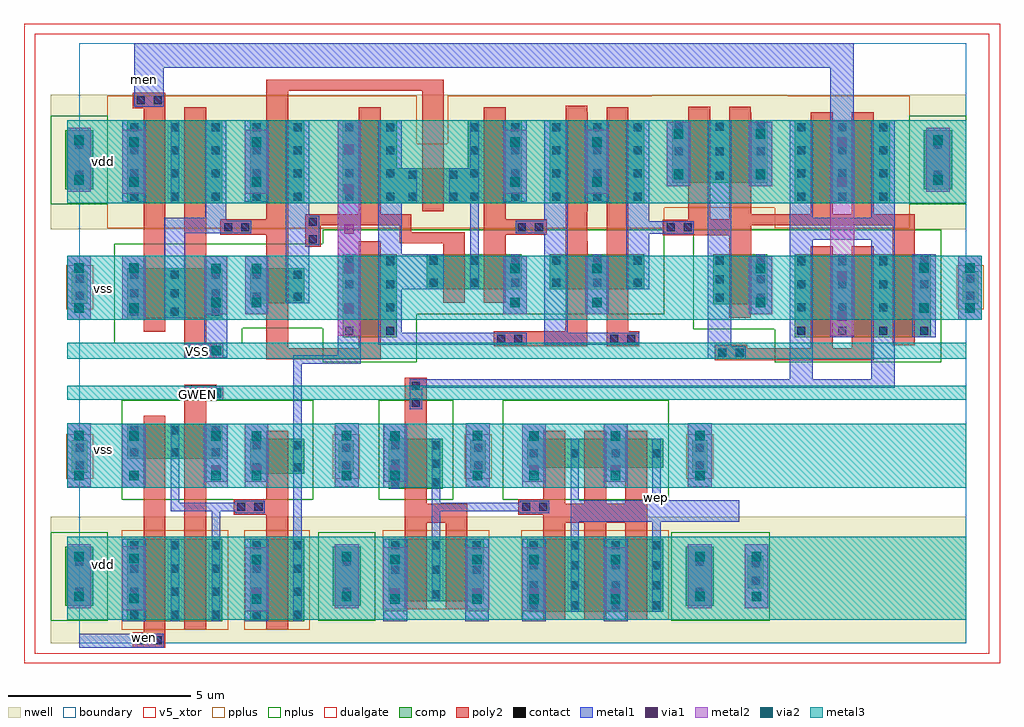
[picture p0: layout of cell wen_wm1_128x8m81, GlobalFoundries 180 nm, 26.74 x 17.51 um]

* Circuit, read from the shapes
.subckt wen_wm1_128x8m81 GWEN VSS men vdd wen wep
XM1 nmos_5p0431059054878_128x8m81_89/D wen VSS VSS nfet_05v0 w=0.96u l=0.6u
XM2 nmos_5p04310590548740_128x8m81_55/D men VSS VSS nfet_05v0 w=1.37u l=0.6u
XM3 VSS GWEN nmos_5p0431059054878_128x8m81_89/D VSS nfet_05v0 w=0.96u l=0.6u
XM4 VSS VSS nmos_5p04310590548740_128x8m81_55/D VSS nfet_05v0 w=1.37u l=0.6u
XM5 nmos_5p0431059054878_128x8m81_97/D nmos_5p0431059054878_128x8m81_89/D VSS VSS nfet_05v0 w=0.96u l=0.6u
XM6 nmos_5p0431059054878_128x8m81_48/D nmos_5p04310590548740_128x8m81_55/D VSS VSS nfet_05v0 w=0.96u l=0.6u
XM7 pmos_5p04310590548741_128x8m81_72/S nmos_5p04310590548740_128x8m81_55/D nmos_5p0431059054878_128x8m81_97/D VSS nfet_05v0 w=2.27u l=0.6u
XM8 nmos_5p04310590548740_128x8m81_80/D nmos_5p04310590548710_128x8m81_39/S VSS VSS nfet_05v0 w=1.37u l=0.6u
XM9 pmos_5p04310590548741_128x8m81_72/D nmos_5p0431059054878_128x8m81_48/D pmos_5p04310590548741_128x8m81_72/S VSS nfet_05v0 w=0.96u l=0.6u
XM10 VSS nmos_1p2$$202595372_128x8m81_18/nmos_5p0431059054878_128x8m81_0/S pmos_5p04310590548741_128x8m81_72/D VSS nfet_05v0 w=0.96u l=0.6u
XM11 wep nmos_5p04310590548740_128x8m81_80/D VSS VSS nfet_05v0 w=0.8u l=0.6u m=3
XM12 VSS pmos_5p04310590548741_128x8m81_72/S nmos_1p2$$202595372_128x8m81_18/nmos_5p0431059054878_128x8m81_0/S VSS nfet_05v0 w=0.96u l=0.6u
XM13 nmos_1p2$$202596396_128x8m81_29/nmos_5p0431059054878_128x8m81_0/D nmos_1p2$$202595372_128x8m81_18/nmos_5p0431059054878_128x8m81_0/S VSS VSS nfet_05v0 w=0.96u l=0.6u
XM14 VSS nmos_1p2$$202596396_128x8m81_29/nmos_5p0431059054878_128x8m81_0/D pmos_1p2$$202583084_128x8m81_40/pmos_5p04310590548735_128x8m81_0/D VSS nfet_05v0 w=1.37u l=0.6u
XM15 men pmos_1p2$$202583084_128x8m81_40/pmos_5p04310590548735_128x8m81_0/D nmos_5p04310590548710_128x8m81_39/S VSS nfet_05v0 w=2.27u l=0.6u m=2
XM16 VSS nmos_1p2$$202596396_128x8m81_29/nmos_5p0431059054878_128x8m81_0/D nmos_5p04310590548710_128x8m81_39/S VSS nfet_05v0 w=2.27u l=0.6u
XM17 pmos_5p04310590548714_128x8m81_106/D wen vdd vdd pfet_05v0 w=2.27u l=0.6u
XM18 pmos_5p04310590548714_128x8m81_74/D men vdd vdd pfet_05v0 w=2.27u l=0.6u
XM19 nmos_5p0431059054878_128x8m81_89/D GWEN pmos_5p04310590548714_128x8m81_106/D vdd pfet_05v0 w=2.27u l=0.6u
XM20 nmos_5p04310590548740_128x8m81_55/D VSS pmos_5p04310590548714_128x8m81_74/D vdd pfet_05v0 w=2.27u l=0.6u
XM21 nmos_5p0431059054878_128x8m81_97/D nmos_5p0431059054878_128x8m81_89/D vdd vdd pfet_05v0 w=2.27u l=0.6u
XM22 nmos_5p0431059054878_128x8m81_48/D nmos_5p04310590548740_128x8m81_55/D vdd vdd pfet_05v0 w=2.27u l=0.6u
XM23 pmos_5p04310590548741_128x8m81_72/S nmos_5p0431059054878_128x8m81_48/D nmos_5p0431059054878_128x8m81_97/D vdd pfet_05v0 w=2.27u l=0.6u
XM24 nmos_5p04310590548740_128x8m81_80/D nmos_5p04310590548710_128x8m81_39/S vdd vdd pfet_05v0 w=1.71u l=0.6u m=2
XM25 pmos_5p04310590548741_128x8m81_72/D nmos_5p04310590548740_128x8m81_55/D pmos_5p04310590548741_128x8m81_72/S vdd pfet_05v0 w=0.96u l=0.6u
XM26 vdd nmos_1p2$$202595372_128x8m81_18/nmos_5p0431059054878_128x8m81_0/S pmos_5p04310590548741_128x8m81_72/D vdd pfet_05v0 w=2.27u l=0.6u
XM27 wep nmos_5p04310590548740_128x8m81_80/D vdd vdd pfet_05v0 w=2u l=0.6u m=3
XM28 vdd pmos_5p04310590548741_128x8m81_72/S nmos_1p2$$202595372_128x8m81_18/nmos_5p0431059054878_128x8m81_0/S vdd pfet_05v0 w=2.27u l=0.6u
XM29 nmos_1p2$$202596396_128x8m81_29/nmos_5p0431059054878_128x8m81_0/D nmos_1p2$$202595372_128x8m81_18/nmos_5p0431059054878_128x8m81_0/S vdd vdd pfet_05v0 w=2.27u l=0.6u
XM30 pmos_1p2$$202583084_128x8m81_40/pmos_5p04310590548735_128x8m81_0/D nmos_1p2$$202596396_128x8m81_29/nmos_5p0431059054878_128x8m81_0/D vdd vdd pfet_05v0 w=1.71u l=0.6u m=2
XM31 men nmos_1p2$$202596396_128x8m81_29/nmos_5p0431059054878_128x8m81_0/D nmos_5p04310590548710_128x8m81_39/S vdd pfet_05v0 w=2.27u l=0.6u m=2
.ends

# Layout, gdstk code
from math import pi, radians
import gdstk
lib = gdstk.Library(unit=1e-6, precision=1e-09)
def R(c, l, rs):  # rectangles x0, y0, x1, y1
    for r in rs: c.add(gdstk.rectangle(r[:2], r[2:], *l))
def A(c, l, x, y, w, h, nx, ny, dx, dy):  # array of equal rectangles
    R(c, l, [(x+i*dx, y+j*dy, x+i*dx+w, y+j*dy+h) for i in range(nx) for j in range(ny)])
def P(c, l, *ps):  # polygons
    for p in ps: c.add(gdstk.Polygon(p, *l))
boundary = (0, 0)
nwell = (21, 0)
comp = (22, 0)
poly2 = (30, 0)
pplus = (31, 0)
nplus = (32, 0)
contact = (33, 0)
metal1 = (34, 0)
via1 = (35, 0)
metal2 = (36, 0)
via2 = (38, 0)
metal3 = (42, 0)
dualgate = (55, 0)
v5_xtor = (112, 1)

m1_poly24310590548739_12 = lib.new_cell('M1_POLY24310590548739_128x8m81')
R(m1_poly24310590548739_12, poly2, [(-0.21,-0.445,0.21,0.445)])
R(m1_poly24310590548739_12, contact, [(-0.11,-0.345,0.11,-0.125), (-0.11,0.125,0.11,0.345)])
R(m1_poly24310590548739_12, metal1, [(-0.17,-0.405,0.17,0.405)])

m3_m2__202397740_128x8m8 = lib.new_cell('M3_M2$$202397740_128x8m81')
R(m3_m2__202397740_128x8m8, metal2, [(-0.32,-0.795,0.32,0.8)])
R(m3_m2__202397740_128x8m8, via2, [(-0.13,-0.595,0.13,-0.335), (-0.13,0.335,0.13,0.595)])
R(m3_m2__202397740_128x8m8, metal3, [(-0.325,-0.8,0.325,0.8)])

pmos_5p04310590548714_12 = lib.new_cell('pmos_5p04310590548714_128x8m81')
R(pmos_5p04310590548714_12, nwell, [(-1.04,-0.6,1.64,2.87)])
R(pmos_5p04310590548714_12, comp, [(-0.44,0,1.04,2.27), (-0.44,0,-0.08,2.27), (0.68,0,1.04,2.27)])
R(pmos_5p04310590548714_12, poly2, [(0,-0.22,0.6,2.49), (0,2.27,0.6,2.49)])
R(pmos_5p04310590548714_12, pplus, [(-0.6,-0.23,1.2,2.5)])
A(pmos_5p04310590548714_12, contact, -0.37, 0.71, 0.22, 0.22, 1, 3, 0, 0.635)
A(pmos_5p04310590548714_12, contact, 0.75, 0.71, 0.22, 0.22, 1, 3, 0, 0.635)
R(pmos_5p04310590548714_12, contact, [(-0.37,0.07,-0.15,0.29), (0.75,0.07,0.97,0.29)])
R(pmos_5p04310590548714_12, metal1, [(-0.375,0,-0.145,2.27), (-0.375,0,-0.145,2.27), (0.745,0,0.975,2.27), (0.745,0,0.975,2.27)])
R(pmos_5p04310590548714_12, dualgate, [(-0.68,-0.62,1.28,2.89)])
R(pmos_5p04310590548714_12, v5_xtor, [(-0.68,-0.62,1.28,2.89)])
pmos_5p04310590548714_12.add(gdstk.Label('S', (-0.26,1.135), layer=34, texttype=0))
pmos_5p04310590548714_12.add(gdstk.Label('D', (0.86,1.135), layer=34, texttype=0))

pmos_1p2__202586156_128x = lib.new_cell('pmos_1p2$$202586156_128x8m81')
R(pmos_1p2__202586156_128x, nwell, [(-1.43,-0.705,1.72,2.975)])
R(pmos_1p2__202586156_128x, poly2, [(-0.155,-0.37,0.44,0), (-0.155,2.27,0.44,2.635)])
R(pmos_1p2__202586156_128x, pplus, [(-1.145,-0.68,1.43,2.95)])
pmos_1p2__202586156_128x.add(gdstk.Reference(pmos_5p04310590548714_12, (-0.155,0)))

m2_m1__202395692_128x8m8 = lib.new_cell('M2_M1$$202395692_128x8m81')
R(m2_m1__202395692_128x8m8, metal1, [(-0.32,-0.795,0.32,0.8)])
R(m2_m1__202395692_128x8m8, via1, [(-0.13,-0.595,0.13,-0.335), (-0.13,0.335,0.13,0.595)])
R(m2_m1__202395692_128x8m8, metal2, [(-0.32,-0.795,0.32,0.8)])

m3_m2__201252908_128x8m8 = lib.new_cell('M3_M2$$201252908_128x8m81')
R(m3_m2__201252908_128x8m8, metal2, [(-0.325,-0.875,0.325,0.88)])
R(m3_m2__201252908_128x8m8, via2, [(-0.13,-0.675,0.13,-0.415), (-0.13,0.415,0.13,0.675)])
R(m3_m2__201252908_128x8m8, metal3, [(-0.325,-0.875,0.325,0.88)])

nmos_5p0431059054878_128 = lib.new_cell('nmos_5p0431059054878_128x8m81')
R(nmos_5p0431059054878_128, comp, [(-0.44,0,1.04,0.96), (-0.44,0,-0.08,0.96), (0.68,0,1.04,0.96)])
R(nmos_5p0431059054878_128, poly2, [(0,-0.22,0.6,1.18), (0,0.96,0.6,1.18)])
R(nmos_5p0431059054878_128, nplus, [(-0.6,-0.23,1.2,1.19)])
R(nmos_5p0431059054878_128, contact, [(-0.37,0.07,-0.15,0.29), (0.75,0.07,0.97,0.29), (-0.37,0.67,-0.15,0.89), (0.75,0.67,0.97,0.89)])
R(nmos_5p0431059054878_128, metal1, [(-0.375,0,-0.145,0.96), (-0.375,0,-0.145,0.96), (0.745,0,0.975,0.96), (0.745,0,0.975,0.96)])
R(nmos_5p0431059054878_128, dualgate, [(-0.68,-0.62,1.28,1.58)])
R(nmos_5p0431059054878_128, v5_xtor, [(-0.68,-0.62,1.28,1.58)])
nmos_5p0431059054878_128.add(gdstk.Label('S', (-0.26,0.48), layer=34, texttype=0))
nmos_5p0431059054878_128.add(gdstk.Label('D', (0.86,0.48), layer=34, texttype=0))

nmos_1p2__202596396_128x = lib.new_cell('nmos_1p2$$202596396_128x8m81')
R(nmos_1p2__202596396_128x, poly2, [(-0.155,-0.365,0.44,-0.005), (-0.155,0.955,0.44,1.32)])
R(nmos_1p2__202596396_128x, nplus, [(-0.995,-0.685,1.43,1.635)])
nmos_1p2__202596396_128x.add(gdstk.Reference(nmos_5p0431059054878_128, (-0.155,0)))

m2_m1__202406956_128x8m8 = lib.new_cell('M2_M1$$202406956_128x8m81')
R(m2_m1__202406956_128x8m8, metal1, [(-0.325,-0.875,0.325,0.88)])
R(m2_m1__202406956_128x8m8, via1, [(-0.13,-0.675,0.13,-0.415), (-0.13,0.415,0.13,0.675)])
R(m2_m1__202406956_128x8m8, metal2, [(-0.325,-0.875,0.325,0.88)])

pmos_5p04310590548743_12 = lib.new_cell('pmos_5p04310590548743_128x8m81')
R(pmos_5p04310590548743_12, nwell, [(-1.04,-0.6,3.88,2.6)])
A(pmos_5p04310590548743_12, comp, -0.44, 0, 0.36, 2, 4, 1, 1.12, 0)
R(pmos_5p04310590548743_12, comp, [(-0.44,0,3.28,2)])
A(pmos_5p04310590548743_12, poly2, 0, -0.22, 0.6, 2.44, 3, 1, 1.12, 0)
A(pmos_5p04310590548743_12, poly2, 0, 2, 0.6, 0.22, 3, 1, 1.12, 0)
R(pmos_5p04310590548743_12, pplus, [(-0.6,-0.23,3.44,2.23)])
A(pmos_5p04310590548743_12, contact, -0.37, 0.07, 0.22, 0.22, 4, 2, 1.12, 0.55)
A(pmos_5p04310590548743_12, contact, -0.37, 1.165, 0.22, 0.22, 4, 2, 1.12, 0.545)
R(pmos_5p04310590548743_12, metal1, [(-0.375,0,-0.145,2), (-0.375,0,-0.145,2), (0.745,0,0.975,2), (0.745,0,0.975,2), (1.865,0,2.095,2), (1.865,0,2.095,2), (2.985,0,3.215,2), (2.985,0,3.215,2)])
R(pmos_5p04310590548743_12, dualgate, [(-0.68,-0.62,3.52,2.62)])
R(pmos_5p04310590548743_12, v5_xtor, [(-0.68,-0.62,3.52,2.62)])
pmos_5p04310590548743_12.add(gdstk.Label('S', (-0.26,1), layer=34, texttype=0))
pmos_5p04310590548743_12.add(gdstk.Label('D', (3.1,1), layer=34, texttype=0))
pmos_5p04310590548743_12.add(gdstk.Label('D', (0.86,1), layer=34, texttype=0))
pmos_5p04310590548743_12.add(gdstk.Label('S', (1.98,1), layer=34, texttype=0))

pmos_5p04310590548720_12 = lib.new_cell('pmos_5p04310590548720_128x8m81')
R(pmos_5p04310590548720_12, nwell, [(-1.04,-0.6,2.76,2.87)])
A(pmos_5p04310590548720_12, comp, -0.44, 0, 0.36, 2.27, 3, 1, 1.12, 0)
R(pmos_5p04310590548720_12, comp, [(-0.44,0,2.16,2.27)])
R(pmos_5p04310590548720_12, poly2, [(0,-0.22,0.6,2.49), (1.12,-0.22,1.72,2.49), (0,2.27,0.6,2.49), (1.12,2.27,1.72,2.49)])
R(pmos_5p04310590548720_12, pplus, [(-0.6,-0.23,2.32,2.5)])
A(pmos_5p04310590548720_12, contact, -0.37, 0.07, 0.22, 0.22, 3, 2, 1.12, 0.64)
A(pmos_5p04310590548720_12, contact, -0.37, 1.345, 0.22, 0.22, 3, 2, 1.12, 0.635)
R(pmos_5p04310590548720_12, metal1, [(-0.375,0,-0.145,2.27), (-0.375,0,-0.145,2.27), (0.745,0,0.975,2.27), (0.745,0,0.975,2.27), (1.865,0,2.095,2.27), (1.865,0,2.095,2.27)])
R(pmos_5p04310590548720_12, dualgate, [(-0.68,-0.62,2.4,2.89)])
R(pmos_5p04310590548720_12, v5_xtor, [(-0.68,-0.62,2.4,2.89)])
pmos_5p04310590548720_12.add(gdstk.Label('S', (-0.26,1.135), layer=34, texttype=0))
pmos_5p04310590548720_12.add(gdstk.Label('S', (1.98,1.135), layer=34, texttype=0))
pmos_5p04310590548720_12.add(gdstk.Label('D', (0.86,1.135), layer=34, texttype=0))

nmos_5p04310590548739_12 = lib.new_cell('nmos_5p04310590548739_128x8m81')
A(nmos_5p04310590548739_12, comp, -0.44, 0, 0.36, 2.27, 3, 1, 1.12, 0)
R(nmos_5p04310590548739_12, comp, [(-0.44,0,2.16,2.27)])
R(nmos_5p04310590548739_12, poly2, [(0,-0.22,0.6,2.49), (1.12,-0.22,1.72,2.49), (0,2.27,0.6,2.49), (1.12,2.27,1.72,2.49)])
R(nmos_5p04310590548739_12, nplus, [(-0.6,-0.23,2.32,2.5)])
A(nmos_5p04310590548739_12, contact, -0.37, 0.07, 0.22, 0.22, 3, 2, 1.12, 0.64)
A(nmos_5p04310590548739_12, contact, -0.37, 1.345, 0.22, 0.22, 3, 2, 1.12, 0.635)
R(nmos_5p04310590548739_12, metal1, [(-0.375,0,-0.145,2.27), (-0.375,0,-0.145,2.27), (0.745,0,0.975,2.27), (0.745,0,0.975,2.27), (1.865,0,2.095,2.27), (1.865,0,2.095,2.27)])
R(nmos_5p04310590548739_12, dualgate, [(-0.68,-0.62,2.4,2.89)])
R(nmos_5p04310590548739_12, v5_xtor, [(-0.68,-0.62,2.4,2.89)])
nmos_5p04310590548739_12.add(gdstk.Label('S', (-0.26,1.135), layer=34, texttype=0))
nmos_5p04310590548739_12.add(gdstk.Label('S', (1.98,1.135), layer=34, texttype=0))
nmos_5p04310590548739_12.add(gdstk.Label('D', (0.86,1.135), layer=34, texttype=0))

nmos_5p04310590548740_12 = lib.new_cell('nmos_5p04310590548740_128x8m81')
R(nmos_5p04310590548740_12, comp, [(-0.44,0,1.04,1.37), (-0.44,0,-0.08,1.37), (0.68,0,1.04,1.37)])
R(nmos_5p04310590548740_12, poly2, [(0,-0.22,0.6,1.59), (0,1.37,0.6,1.59)])
R(nmos_5p04310590548740_12, nplus, [(-0.6,-0.23,1.2,1.6)])
A(nmos_5p04310590548740_12, contact, -0.37, 0.07, 0.22, 0.22, 1, 3, 0, 0.505)
A(nmos_5p04310590548740_12, contact, 0.75, 0.07, 0.22, 0.22, 1, 3, 0, 0.505)
R(nmos_5p04310590548740_12, metal1, [(-0.375,0,-0.145,1.37), (-0.375,0,-0.145,1.37), (0.745,0,0.975,1.37), (0.745,0,0.975,1.37)])
R(nmos_5p04310590548740_12, dualgate, [(-0.68,-0.62,1.28,1.99)])
R(nmos_5p04310590548740_12, v5_xtor, [(-0.68,-0.62,1.28,1.99)])
nmos_5p04310590548740_12.add(gdstk.Label('S', (-0.26,0.685), layer=34, texttype=0))
nmos_5p04310590548740_12.add(gdstk.Label('D', (0.86,0.685), layer=34, texttype=0))

nmos_1p2__202594348_128x = lib.new_cell('nmos_1p2$$202594348_128x8m81')
R(nmos_1p2__202594348_128x, poly2, [(-0.155,-0.365,0.44,0), (-0.155,1.365,0.44,1.73)])
R(nmos_1p2__202594348_128x, nplus, [(-1.145,-0.685,1.43,2.045)])
nmos_1p2__202594348_128x.add(gdstk.Reference(nmos_5p04310590548740_12, (-0.155,0)))

m1_nactive__202392620_12 = lib.new_cell('M1_NACTIVE$$202392620_128x8m81')
R(m1_nactive__202392620_12, comp, [(-0.385,-0.805,0.385,0.81)])
R(m1_nactive__202392620_12, nplus, [(-0.78,-1.215,0.78,1.215)])
R(m1_nactive__202392620_12, contact, [(-0.11,-0.52,0.11,-0.3), (-0.11,0.3,0.11,0.52)])
R(m1_nactive__202392620_12, metal1, [(-0.29,-0.71,0.29,0.71)])

nmos_1p2__202595372_128x = lib.new_cell('nmos_1p2$$202595372_128x8m81')
R(nmos_1p2__202595372_128x, poly2, [(-0.155,-0.365,0.445,-0.005), (-0.155,0.955,0.445,1.32)])
R(nmos_1p2__202595372_128x, nplus, [(-1.145,-0.685,0.925,1.635)])
nmos_1p2__202595372_128x.add(gdstk.Reference(nmos_5p0431059054878_128, (-0.155,0)))

m1_pactive4310590548728_ = lib.new_cell('M1_PACTIVE4310590548728_128x8m81')
R(m1_pactive4310590548728_, comp, [(-0.21,-0.445,0.21,0.445)])
R(m1_pactive4310590548728_, pplus, [(-0.37,-0.605,0.37,0.605)])
R(m1_pactive4310590548728_, contact, [(-0.11,-0.345,0.11,-0.125), (-0.11,0.125,0.11,0.345)])
R(m1_pactive4310590548728_, metal1, [(-0.17,-0.405,0.17,0.405)])

pmos_1p2__202585132_128x = lib.new_cell('pmos_1p2$$202585132_128x8m81')
R(pmos_1p2__202585132_128x, nwell, [(-1.28,-0.705,1.72,2.975)])
R(pmos_1p2__202585132_128x, poly2, [(-0.155,-0.37,0.44,0), (-0.155,2.27,0.44,2.635)])
R(pmos_1p2__202585132_128x, pplus, [(-0.995,-0.68,1.43,2.95)])
pmos_1p2__202585132_128x.add(gdstk.Reference(pmos_5p04310590548714_12, (-0.155,0)))

pmos_1p2__202584108_128x = lib.new_cell('pmos_1p2$$202584108_128x8m81')
R(pmos_1p2__202584108_128x, nwell, [(-1.43,-0.705,1.215,2.975)])
R(pmos_1p2__202584108_128x, poly2, [(-0.155,-0.37,0.44,0), (-0.155,2.27,0.44,2.635)])
R(pmos_1p2__202584108_128x, pplus, [(-1.145,-0.68,0.925,2.95)])
pmos_1p2__202584108_128x.add(gdstk.Reference(pmos_5p04310590548714_12, (-0.155,0)))

nmos_5p04310590548710_12 = lib.new_cell('nmos_5p04310590548710_128x8m81')
R(nmos_5p04310590548710_12, comp, [(-0.44,0,1.04,2.27), (-0.44,0,-0.08,2.27), (0.68,0,1.04,2.27)])
R(nmos_5p04310590548710_12, poly2, [(0,-0.22,0.6,2.49), (0,2.27,0.6,2.49)])
R(nmos_5p04310590548710_12, nplus, [(-0.6,-0.23,1.2,2.5)])
A(nmos_5p04310590548710_12, contact, -0.37, 0.71, 0.22, 0.22, 1, 3, 0, 0.635)
A(nmos_5p04310590548710_12, contact, 0.75, 0.71, 0.22, 0.22, 1, 3, 0, 0.635)
R(nmos_5p04310590548710_12, contact, [(-0.37,0.07,-0.15,0.29), (0.75,0.07,0.97,0.29)])
R(nmos_5p04310590548710_12, metal1, [(-0.375,0,-0.145,2.27), (-0.375,0,-0.145,2.27), (0.745,0,0.975,2.27), (0.745,0,0.975,2.27)])
R(nmos_5p04310590548710_12, dualgate, [(-0.68,-0.62,1.28,2.89)])
R(nmos_5p04310590548710_12, v5_xtor, [(-0.68,-0.62,1.28,2.89)])
nmos_5p04310590548710_12.add(gdstk.Label('S', (-0.26,1.135), layer=34, texttype=0))
nmos_5p04310590548710_12.add(gdstk.Label('D', (0.86,1.135), layer=34, texttype=0))

pmos_5p04310590548735_12 = lib.new_cell('pmos_5p04310590548735_128x8m81')
R(pmos_5p04310590548735_12, nwell, [(-1.04,-0.6,2.76,2.31)])
A(pmos_5p04310590548735_12, comp, -0.44, 0, 0.36, 1.71, 3, 1, 1.12, 0)
R(pmos_5p04310590548735_12, comp, [(-0.44,0,2.16,1.71)])
R(pmos_5p04310590548735_12, poly2, [(0,-0.22,0.6,1.93), (1.12,-0.22,1.72,1.93), (0,1.71,0.6,1.93), (1.12,1.71,1.72,1.93)])
R(pmos_5p04310590548735_12, pplus, [(-0.6,-0.23,2.32,1.94)])
A(pmos_5p04310590548735_12, contact, -0.37, 0.07, 0.22, 0.22, 3, 3, 1.12, 0.675)
R(pmos_5p04310590548735_12, metal1, [(-0.375,0,-0.145,1.71), (-0.375,0,-0.145,1.71), (0.745,0,0.975,1.71), (0.745,0,0.975,1.71), (1.865,0,2.095,1.71), (1.865,0,2.095,1.71)])
R(pmos_5p04310590548735_12, dualgate, [(-0.68,-0.62,2.4,2.33)])
R(pmos_5p04310590548735_12, v5_xtor, [(-0.68,-0.62,2.4,2.33)])
pmos_5p04310590548735_12.add(gdstk.Label('S', (-0.26,0.855), layer=34, texttype=0))
pmos_5p04310590548735_12.add(gdstk.Label('S', (1.98,0.855), layer=34, texttype=0))
pmos_5p04310590548735_12.add(gdstk.Label('D', (0.86,0.855), layer=34, texttype=0))

pmos_1p2__202583084_128x = lib.new_cell('pmos_1p2$$202583084_128x8m81')
R(pmos_1p2__202583084_128x, nwell, [(-1.43,-0.71,2.84,2.41)])
R(pmos_1p2__202583084_128x, poly2, [(-0.155,-0.37,0.44,-0.005), (0.965,-0.37,1.56,-0.005), (-0.155,1.705,0.44,2.07), (0.965,1.705,1.56,2.07)])
R(pmos_1p2__202583084_128x, pplus, [(-1.145,-0.685,2.55,2.385)])
pmos_1p2__202583084_128x.add(gdstk.Reference(pmos_5p04310590548735_12, (-0.155,0)))

m2_m14310590548736_128x8 = lib.new_cell('M2_M14310590548736_128x8m81')
R(m2_m14310590548736_128x8, metal1, [(-0.52,-0.19,0.52,0.19)])
R(m2_m14310590548736_128x8, via1, [(-0.46,-0.13,-0.2,0.13), (0.2,-0.13,0.46,0.13)])
R(m2_m14310590548736_128x8, metal2, [(-0.52,-0.19,0.52,0.19)])

m3_m24310590548737_128x8 = lib.new_cell('M3_M24310590548737_128x8m81')
R(m3_m24310590548737_128x8, metal2, [(-0.52,-0.19,0.52,0.19)])
R(m3_m24310590548737_128x8, via2, [(-0.46,-0.13,-0.2,0.13), (0.2,-0.13,0.46,0.13)])
R(m3_m24310590548737_128x8, metal3, [(-0.52,-0.19,0.52,0.19)])

pmos_1p2__202587180_128x = lib.new_cell('pmos_1p2$$202587180_128x8m81')
R(pmos_1p2__202587180_128x, nwell, [(-1.43,-0.705,1.72,2.975)])
R(pmos_1p2__202587180_128x, poly2, [(-0.155,-0.37,0.445,0), (-0.155,2.27,0.445,2.635)])
R(pmos_1p2__202587180_128x, pplus, [(-1.145,-0.68,1.43,2.95)])
pmos_1p2__202587180_128x.add(gdstk.Reference(pmos_5p04310590548714_12, (-0.155,0)))

m2_m1__202396716_128x8m8 = lib.new_cell('M2_M1$$202396716_128x8m81')
R(m2_m1__202396716_128x8m8, metal1, [(-0.32,-2.51,0.32,2.51)])
A(m2_m1__202396716_128x8m8, via1, -0.13, -1.22, 0.26, 0.26, 1, 3, 0, 1.09)
R(m2_m1__202396716_128x8m8, via1, [(-0.13,-2.305,0.13,-2.045), (-0.13,2.045,0.13,2.305)])
R(m2_m1__202396716_128x8m8, metal2, [(-0.32,-2.51,0.32,2.51)])

m1_poly24310590548734_12 = lib.new_cell('M1_POLY24310590548734_128x8m81')
R(m1_poly24310590548734_12, poly2, [(-0.445,-0.21,0.445,0.21)])
R(m1_poly24310590548734_12, contact, [(-0.345,-0.11,-0.125,0.11), (0.125,-0.11,0.345,0.11)])
R(m1_poly24310590548734_12, metal1, [(-0.405,-0.17,0.405,0.17)])

pmos_5p04310590548741_12 = lib.new_cell('pmos_5p04310590548741_128x8m81')
R(pmos_5p04310590548741_12, nwell, [(-1.04,-0.6,1.64,1.56)])
R(pmos_5p04310590548741_12, comp, [(-0.44,0,1.04,0.96), (-0.44,0,-0.08,0.96), (0.68,0,1.04,0.96)])
R(pmos_5p04310590548741_12, poly2, [(0,-0.22,0.6,1.18), (0,0.96,0.6,1.18)])
R(pmos_5p04310590548741_12, pplus, [(-0.6,-0.23,1.2,1.19)])
R(pmos_5p04310590548741_12, contact, [(-0.37,0.07,-0.15,0.29), (0.75,0.07,0.97,0.29), (-0.37,0.67,-0.15,0.89), (0.75,0.67,0.97,0.89)])
R(pmos_5p04310590548741_12, metal1, [(-0.375,0,-0.145,0.96), (-0.375,0,-0.145,0.96), (0.745,0,0.975,0.96), (0.745,0,0.975,0.96)])
R(pmos_5p04310590548741_12, dualgate, [(-0.68,-0.62,1.28,1.58)])
R(pmos_5p04310590548741_12, v5_xtor, [(-0.68,-0.62,1.28,1.58)])
pmos_5p04310590548741_12.add(gdstk.Label('S', (-0.26,0.48), layer=34, texttype=0))
pmos_5p04310590548741_12.add(gdstk.Label('D', (0.86,0.48), layer=34, texttype=0))

nmos_1p2__202598444_128x = lib.new_cell('nmos_1p2$$202598444_128x8m81')
R(nmos_1p2__202598444_128x, poly2, [(-0.155,-0.37,0.445,-0.005), (-0.155,2.27,0.445,2.635)])
R(nmos_1p2__202598444_128x, nplus, [(-1.145,-0.685,1.43,2.95)])
nmos_1p2__202598444_128x.add(gdstk.Reference(nmos_5p04310590548710_12, (-0.155,0)))

nmos_5p04310590548742_12 = lib.new_cell('nmos_5p04310590548742_128x8m81')
A(nmos_5p04310590548742_12, comp, -0.44, 0, 0.36, 0.8, 4, 1, 1.12, 0)
R(nmos_5p04310590548742_12, comp, [(-0.44,0,3.28,0.8)])
A(nmos_5p04310590548742_12, poly2, 0, -0.22, 0.6, 1.24, 3, 1, 1.12, 0)
A(nmos_5p04310590548742_12, poly2, 0, 0.8, 0.6, 0.22, 3, 1, 1.12, 0)
R(nmos_5p04310590548742_12, nplus, [(-0.6,-0.23,3.44,1.03)])
A(nmos_5p04310590548742_12, contact, -0.37, 0.29, 0.22, 0.22, 4, 1, 1.12, 0)
R(nmos_5p04310590548742_12, metal1, [(-0.375,0,-0.145,0.8), (-0.375,0,-0.145,0.8), (0.745,0,0.975,0.8), (0.745,0,0.975,0.8), (1.865,0,2.095,0.8), (1.865,0,2.095,0.8), (2.985,0,3.215,0.8), (2.985,0,3.215,0.8)])
R(nmos_5p04310590548742_12, dualgate, [(-0.68,-0.62,3.52,1.42)])
R(nmos_5p04310590548742_12, v5_xtor, [(-0.68,-0.62,3.52,1.42)])
nmos_5p04310590548742_12.add(gdstk.Label('S', (-0.26,0.4), layer=34, texttype=0))
nmos_5p04310590548742_12.add(gdstk.Label('D', (3.1,0.4), layer=34, texttype=0))
nmos_5p04310590548742_12.add(gdstk.Label('D', (0.86,0.4), layer=34, texttype=0))
nmos_5p04310590548742_12.add(gdstk.Label('S', (1.98,0.4), layer=34, texttype=0))

m1_nactive4310590548738_ = lib.new_cell('M1_NACTIVE4310590548738_128x8m81')
R(m1_nactive4310590548738_, comp, [(-0.21,-0.445,0.21,0.445)])
R(m1_nactive4310590548738_, nplus, [(-0.37,-0.605,0.37,0.605)])
R(m1_nactive4310590548738_, contact, [(-0.11,-0.345,0.11,-0.125), (-0.11,0.125,0.11,0.345)])
R(m1_nactive4310590548738_, metal1, [(-0.17,-0.405,0.17,0.405)])

wen_wm1_128x8m81 = lib.new_cell('wen_wm1_128x8m81')
R(wen_wm1_128x8m81, boundary, [(0,0,24.31,16.435)])
R(wen_wm1_128x8m81, nwell, [(-0.78,0,24.31,3.47), (-0.78,11.35,24.31,15.03), (0.49,11.35,4.76,15.03), (3.85,11.35,7,15.03), (8.625,11.35,11.18,13.715), (18.775,11.35,23.045,15.03)])
R(wen_wm1_128x8m81, comp, [(8.43,12.055,9.195,13.015), (10.415,12.055,10.7,13.015)])
R(wen_wm1_128x8m81, poly2, [(1.765,-0.12,2.365,0.6), (5.125,2.945,5.725,4.52), (14.96,2.945,15.56,4.8), (1.765,2.95,2.365,5.07), (2.885,2.95,3.485,6.24), (8.92,5.805,9.52,7.27), (2.885,6.185,3.485,6.71), (2.885,7.815,3.485,11.975), (14.45,8.135,15.05,11.92), (1.765,8.54,2.365,8.905), (2.885,8.54,3.485,8.905), (5.125,8.945,5.72,9.31), (1.765,10.27,2.36,10.635), (2.885,10.27,3.48,10.635), (5.125,10.27,5.72,10.635), (1.765,10.395,2.365,11.975), (1.765,11.685,2.365,12.055), (2.885,11.685,3.485,12.055), (20.05,11.685,20.65,12.055), (21.17,11.685,21.77,12.055), (1.765,14.325,2.365,14.69), (2.885,14.325,3.485,14.69)])
P(wen_wm1_128x8m81, poly2, [(11.355,8.135),(11.355,8.555),(13.325,8.555),(13.325,8.665),(13.33,8.665),(13.33,14.735),(13.925,14.735),(13.925,8.135)],
  [(17.81,10.645),(17.81,11.185),(16.69,11.185),(16.69,12.555),(17.29,12.555),(17.29,11.615),(17.81,11.615),(17.81,12.555),(18.41,12.555),(18.41,11.755),(22.89,11.755),(22.89,10.645),(22.29,10.645),(22.29,11.45),(18.41,11.45),(18.41,10.645)],
  [(8.78,10.96),(8.78,11.45),(6.195,11.45),(6.195,11.755),(9.095,11.755),(9.095,11.265),(10.57,11.265),(10.57,10.96)],
  [(11.09,10.755),(11.09,11.935),(11.69,11.935),(11.69,11.615),(12.695,11.615),(12.695,11.195),(11.69,11.195),(11.69,10.755)],
  [(5.125,10.36),(5.125,11.195),(4.17,11.195),(4.17,11.615),(5.125,11.615),(5.125,11.935),(5.725,11.935),(5.725,10.36)],
  [(17.475,7.755),(17.475,8.085),(20.05,8.085),(20.05,8.3),(20.65,8.3),(20.65,8.085),(21.17,8.085),(21.17,8.27),(21.77,8.27),(21.77,7.755)],
  [(5.125,7.78),(5.125,9.28),(5.725,9.28),(5.725,8.085),(8.26,8.085),(8.26,7.78)],
  [(9.395,13.02),(9.395,15.135),(5.725,15.135),(5.725,14.46),(5.125,14.46),(5.125,15.44),(9.995,15.44),(9.995,13.02)],
  [(8.92,2.945),(8.92,4.52),(9.52,4.52),(9.52,3.825),(10.64,3.825),(10.64,2.965),(10.04,2.965),(10.04,3.3),(9.52,3.3),(9.52,2.945)],
  [(12.72,2.945),(12.72,4.8),(13.32,4.8),(13.32,3.825),(14.44,3.825),(14.44,2.965),(13.84,2.965),(13.84,3.3),(13.32,3.3),(13.32,2.945)],
  [(13.84,2.945),(13.84,4.8),(14.44,4.8),(14.44,3.825),(15.56,3.825),(15.56,2.965),(14.96,2.965),(14.96,3.3),(14.44,3.3),(14.44,2.945)])
R(wen_wm1_128x8m81, pplus, [(0.775,11.375,4.47,15.005), (4.135,11.375,6.71,15.005), (8.91,11.375,10.895,13.69), (19.06,11.375,22.755,15.005)])
R(wen_wm1_128x8m81, nplus, [(17.63,0.615,18.925,3.045), (1.165,3.93,6.415,6.66), (8.215,3.93,10.25,6.66), (11.605,3.93,16.16,6.66), (19.06,7.7,22.605,11.335), (21.805,7.7,23.625,11.335), (0.96,8.22,4.47,10.95), (4.135,8.63,6.71,10.95)])
R(wen_wm1_128x8m81, metal1, [(0,-0.12,2.325,0.26), (1.18,0.6,1.83,2.87), (4.535,0.6,5.185,2.87), (8.335,0.6,8.985,2.87), (10.575,0.6,11.225,2.87), (12.135,0.6,12.785,2.87), (14.375,0.6,15.025,2.87), (7.08,7.665,7.72,14.325), (17.225,7.795,17.865,14.335), (3.425,7.83,4.065,9.09), (20.58,8.385,21.23,10.61), (22.82,8.385,23.47,10.655), (5.66,9.315,6.305,14.325), (1.18,12.1,1.83,14.325), (4.54,12.1,5.185,14.325), (11.62,12.1,12.27,14.325), (13.86,12.1,14.51,14.325)])
P(wen_wm1_128x8m81, metal1, [(19.465,7),(19.465,14.325),(20.105,14.325),(20.105,11.655),(21.705,11.655),(21.705,14.325),(22.345,14.325),(22.345,7),(21.705,7),(21.705,11.055),(20.105,11.055),(20.105,7)],
  [(14.985,9.7),(14.985,14.325),(15.625,14.325),(15.625,11.565),(16.8,11.565),(16.8,11.225),(15.625,11.225),(15.625,9.7)],
  [(12.745,8.175),(12.745,14.325),(13.385,14.325),(13.385,8.515),(15.34,8.515),(15.34,8.175)],
  [(10.715,9.7),(10.715,12.055),(10.14,12.055),(10.14,13.015),(10.715,13.015),(10.715,14.325),(10.945,14.325),(10.945,9.7)],
  [(8.2,8.175),(8.2,14.325),(8.84,14.325),(8.84,13.015),(9.245,13.015),(9.245,12.055),(8.84,12.055),(8.84,10.66),(9.995,10.66),(9.995,9.7),(8.84,9.7),(8.84,8.515),(12.265,8.515),(12.265,8.175)],
  [(2.335,8.905),(2.335,11.655),(3.455,11.655),(3.455,14.325),(4.03,14.325),(4.03,11.235),(2.91,11.235),(2.91,8.905)],
  [(20.585,12.1),(20.585,15.77),(2.325,15.77),(2.325,14.705),(1.515,14.705),(1.515,16.435),(21.225,16.435),(21.225,12.1)])
R(wen_wm1_128x8m81, metal2, [(7.08,8.425,7.72,14.325), (20.58,8.425,21.23,14.315)])
R(wen_wm1_128x8m81, metal3, [(-0.325,0.64,24.31,2.915), (-0.325,4.265,24.31,6.02), (-0.325,6.675,24.31,7.055), (-0.325,7.8,24.31,8.24), (-0.325,8.86,24.31,10.615), (-0.325,12.055,24.31,14.33)])
R(wen_wm1_128x8m81, dualgate, [(-1.51,-0.54,25.23,16.97)])
R(wen_wm1_128x8m81, v5_xtor, [(-1.21,-0.29,24.93,16.695)])
wen_wm1_128x8m81.add(gdstk.FlexPath([(2.625,5.485),(2.625,3.74),(4.445,3.74)], 0.23, ends="flush", simple_path=True, layer=34, datatype=0))  # metal1
wen_wm1_128x8m81.add(gdstk.FlexPath([(9.225,6.43),(9.225,7.115),(22.345,7.115)], 0.23, ends="flush", simple_path=True, layer=34, datatype=0))  # metal1
wen_wm1_128x8m81.add(gdstk.FlexPath([(18.085,3.625),(13.58,3.625)], 0.6, ends="flush", simple_path=True, layer=34, datatype=0))  # metal1
wen_wm1_128x8m81.add(gdstk.FlexPath([(3.745,2.69),(3.745,3.74)], 0.23, ends="flush", simple_path=True, layer=34, datatype=0))  # metal1
wen_wm1_128x8m81.add(gdstk.FlexPath([(5.87,7.78),(7.58,7.78)], 0.23, ends="flush", simple_path=True, layer=34, datatype=0))  # metal1
wen_wm1_128x8m81.add(gdstk.FlexPath([(5.985,7.83),(5.985,2.315)], 0.23, ends="flush", simple_path=True, layer=34, datatype=0))  # metal1
wen_wm1_128x8m81.add(gdstk.FlexPath([(9.78,2.69),(9.78,4.995)], 0.23, ends="flush", simple_path=True, layer=34, datatype=0))  # metal1
wen_wm1_128x8m81.add(gdstk.FlexPath([(13.58,2.69),(13.58,4.995)], 0.23, ends="flush", simple_path=True, layer=34, datatype=0))  # metal1
wen_wm1_128x8m81.add(gdstk.FlexPath([(12.715,3.74),(9.78,3.74)], 0.23, ends="flush", simple_path=True, layer=34, datatype=0))  # metal1
wen_wm1_128x8m81.add(gdstk.FlexPath([(15.82,2.69),(15.82,4.995)], 0.23, ends="flush", simple_path=True, layer=34, datatype=0))  # metal1
wen_wm1_128x8m81.add(gdstk.Reference(m1_poly24310590548739_12, (11.8,8.345), rotation=pi/2))
wen_wm1_128x8m81.add(gdstk.Reference(m1_poly24310590548739_12, (12.365,11.405), rotation=pi/2))
wen_wm1_128x8m81.add(gdstk.Reference(m3_m2__202397740_128x8m8, (11.945,9.81)))
wen_wm1_128x8m81.add(gdstk.Reference(pmos_1p2__202586156_128x, (11.245,12.055)))
wen_wm1_128x8m81.add(gdstk.Reference(m2_m1__202395692_128x8m8, (11.945,9.81)))
wen_wm1_128x8m81.add(gdstk.Reference(m3_m2__201252908_128x8m8, (11.945,13.19)))
wen_wm1_128x8m81.add(gdstk.Reference(nmos_1p2__202596396_128x, (11.245,9.7)))
wen_wm1_128x8m81.add(gdstk.Reference(m2_m1__202406956_128x8m8, (11.945,13.19)))
wen_wm1_128x8m81.add(gdstk.Reference(pmos_5p04310590548743_12, (12.72,2.87), x_reflection=True))
wen_wm1_128x8m81.add(gdstk.Reference(m3_m2__202397740_128x8m8, (14.185,9.81)))
wen_wm1_128x8m81.add(gdstk.Reference(pmos_5p04310590548720_12, (20.05,12.055)))
wen_wm1_128x8m81.add(gdstk.Reference(nmos_5p04310590548739_12, (20.05,8.385)))
wen_wm1_128x8m81.add(gdstk.Reference(m1_poly24310590548739_12, (17.86,7.965), rotation=pi/2))
wen_wm1_128x8m81.add(gdstk.Reference(nmos_1p2__202594348_128x, (17.965,9.29)))
wen_wm1_128x8m81.add(gdstk.Reference(m1_nactive__202392620_12, (23.53,13.245)))
wen_wm1_128x8m81.add(gdstk.Reference(m2_m1__202395692_128x8m8, (18.665,9.81)))
wen_wm1_128x8m81.add(gdstk.Reference(m2_m1__202395692_128x8m8, (14.185,9.81)))
wen_wm1_128x8m81.add(gdstk.Reference(m1_poly24310590548739_12, (14.895,8.345), rotation=pi/2))
wen_wm1_128x8m81.add(gdstk.Reference(nmos_1p2__202595372_128x, (13.485,9.7)))
wen_wm1_128x8m81.add(gdstk.Reference(m3_m2__201252908_128x8m8, (23.53,13.245)))
wen_wm1_128x8m81.add(gdstk.Reference(m3_m2__201252908_128x8m8, (23.145,9.735)))
wen_wm1_128x8m81.add(gdstk.Reference(m3_m2__201252908_128x8m8, (14.185,13.19)))
wen_wm1_128x8m81.add(gdstk.Reference(m3_m2__201252908_128x8m8, (16.425,13.405)))
wen_wm1_128x8m81.add(gdstk.Reference(m3_m2__201252908_128x8m8, (18.665,13.405)))
wen_wm1_128x8m81.add(gdstk.Reference(m1_pactive4310590548728_, (24.42,9.755)))
wen_wm1_128x8m81.add(gdstk.Reference(m3_m2__201252908_128x8m8, (24.405,9.735)))
wen_wm1_128x8m81.add(gdstk.Reference(pmos_1p2__202585132_128x, (14.605,12.055)))
wen_wm1_128x8m81.add(gdstk.Reference(pmos_1p2__202584108_128x, (13.485,12.055)))
wen_wm1_128x8m81.add(gdstk.Reference(m1_poly24310590548739_12, (16.44,11.395), rotation=pi/2))
wen_wm1_128x8m81.add(gdstk.Reference(nmos_1p2__202596396_128x, (14.605,9.7)))
wen_wm1_128x8m81.add(gdstk.Reference(m2_m1__202406956_128x8m8, (20.905,9.52)))
wen_wm1_128x8m81.add(gdstk.Reference(m2_m1__202406956_128x8m8, (24.405,9.735)))
wen_wm1_128x8m81.add(gdstk.Reference(m2_m1__202406956_128x8m8, (24.405,9.735)))
wen_wm1_128x8m81.add(gdstk.Reference(m2_m1__202406956_128x8m8, (23.53,13.245)))
wen_wm1_128x8m81.add(gdstk.Reference(m2_m1__202406956_128x8m8, (23.145,9.735)))
wen_wm1_128x8m81.add(gdstk.Reference(m2_m1__202406956_128x8m8, (20.905,13.19)))
wen_wm1_128x8m81.add(gdstk.Reference(m2_m1__202406956_128x8m8, (14.185,13.19)))
wen_wm1_128x8m81.add(gdstk.Reference(m2_m1__202406956_128x8m8, (16.425,13.405)))
wen_wm1_128x8m81.add(gdstk.Reference(m2_m1__202406956_128x8m8, (18.665,13.405)))
wen_wm1_128x8m81.add(gdstk.Reference(nmos_5p04310590548710_12, (22.29,8.385)))
wen_wm1_128x8m81.add(gdstk.Reference(pmos_1p2__202583084_128x, (16.845,12.625)))
wen_wm1_128x8m81.add(gdstk.Reference(m3_m2__202397740_128x8m8, (18.665,9.81)))
wen_wm1_128x8m81.add(gdstk.Reference(m3_m2__201252908_128x8m8, (1.505,9.735)))
wen_wm1_128x8m81.add(gdstk.Reference(m3_m2__201252908_128x8m8, (1.505,13.19)))
wen_wm1_128x8m81.add(gdstk.Reference(m3_m2__201252908_128x8m8, (0,9.735)))
wen_wm1_128x8m81.add(gdstk.Reference(m3_m2__201252908_128x8m8, (0,13.245)))
wen_wm1_128x8m81.add(gdstk.Reference(m3_m2__202397740_128x8m8, (4.865,9.81)))
wen_wm1_128x8m81.add(gdstk.Reference(m3_m2__202397740_128x8m8, (3.745,9.81)))
wen_wm1_128x8m81.add(gdstk.Reference(nmos_5p0431059054878_128, (5.125,9.315)))
wen_wm1_128x8m81.add(gdstk.Reference(m2_m14310590548736_128x8, (3.43,8.02)))
wen_wm1_128x8m81.add(gdstk.Reference(m3_m24310590548737_128x8, (3.43,8.02)))
wen_wm1_128x8m81.add(gdstk.Reference(m1_poly24310590548739_12, (6.405,11.31)))
wen_wm1_128x8m81.add(gdstk.Reference(pmos_1p2__202587180_128x, (7.815,12.055)))
wen_wm1_128x8m81.add(gdstk.Reference(m2_m1__202396716_128x8m8, (7.4,11.355)))
wen_wm1_128x8m81.add(gdstk.Reference(nmos_5p04310590548740_12, (2.885,8.905)))
wen_wm1_128x8m81.add(gdstk.Reference(nmos_5p04310590548740_12, (1.765,8.905)))
wen_wm1_128x8m81.add(gdstk.Reference(m1_poly24310590548739_12, (4.315,11.405), rotation=pi/2))
wen_wm1_128x8m81.add(gdstk.Reference(m1_nactive__202392620_12, (0,13.245)))
wen_wm1_128x8m81.add(gdstk.Reference(m2_m1__202406956_128x8m8, (0,9.735)))
wen_wm1_128x8m81.add(gdstk.Reference(m2_m1__202406956_128x8m8, (0,9.735)))
wen_wm1_128x8m81.add(gdstk.Reference(m1_pactive4310590548728_, (0.015,9.755)))
wen_wm1_128x8m81.add(gdstk.Reference(m1_poly24310590548734_12, (1.92,14.875)))
wen_wm1_128x8m81.add(gdstk.Reference(m2_m1__202395692_128x8m8, (4.865,9.81)))
wen_wm1_128x8m81.add(gdstk.Reference(m2_m1__202406956_128x8m8, (4.865,13.19)))
wen_wm1_128x8m81.add(gdstk.Reference(m2_m1__202406956_128x8m8, (1.505,9.735)))
wen_wm1_128x8m81.add(gdstk.Reference(m2_m1__202406956_128x8m8, (1.505,13.19)))
wen_wm1_128x8m81.add(gdstk.Reference(m2_m1__202406956_128x8m8, (0,13.245)))
wen_wm1_128x8m81.add(gdstk.Reference(m2_m1__202395692_128x8m8, (3.745,9.81)))
wen_wm1_128x8m81.add(gdstk.Reference(m1_poly24310590548734_12, (3.33,8.025)))
wen_wm1_128x8m81.add(gdstk.Reference(pmos_5p04310590548714_12, (2.885,12.055)))
wen_wm1_128x8m81.add(gdstk.Reference(nmos_1p2__202595372_128x, (10.125,9.7)))
wen_wm1_128x8m81.add(gdstk.Reference(pmos_5p04310590548714_12, (5.125,12.055)))
wen_wm1_128x8m81.add(gdstk.Reference(pmos_5p04310590548741_12, (9.395,12.055)))
wen_wm1_128x8m81.add(gdstk.Reference(nmos_1p2__202598444_128x, (7.815,8.385)))
wen_wm1_128x8m81.add(gdstk.Reference(pmos_5p04310590548714_12, (1.765,12.055)))
wen_wm1_128x8m81.add(gdstk.Reference(m3_m2__201252908_128x8m8, (4.865,13.19)))
wen_wm1_128x8m81.add(gdstk.Reference(m2_m14310590548736_128x8, (3.43,6.865)))
wen_wm1_128x8m81.add(gdstk.Reference(m3_m24310590548737_128x8, (3.43,6.865)))
wen_wm1_128x8m81.add(gdstk.Reference(m1_poly24310590548734_12, (4.68,3.74)))
wen_wm1_128x8m81.add(gdstk.Reference(m1_poly24310590548734_12, (3.33,6.87)))
wen_wm1_128x8m81.add(gdstk.Reference(nmos_5p04310590548740_12, (8.92,5.61), x_reflection=True))
wen_wm1_128x8m81.add(gdstk.Reference(m1_pactive4310590548728_, (10.93,5.12)))
wen_wm1_128x8m81.add(gdstk.Reference(m1_nactive__202392620_12, (0,1.83)))
wen_wm1_128x8m81.add(gdstk.Reference(m1_nactive__202392620_12, (7.33,1.83)))
wen_wm1_128x8m81.add(gdstk.Reference(m1_poly24310590548734_12, (1.92,0.09)))
wen_wm1_128x8m81.add(gdstk.Reference(m1_poly24310590548734_12, (9.225,6.825), rotation=pi/2))
wen_wm1_128x8m81.add(gdstk.Reference(m3_m2__201252908_128x8m8, (1.505,5.14)))
wen_wm1_128x8m81.add(gdstk.Reference(m3_m2__201252908_128x8m8, (4.86,5.14)))
wen_wm1_128x8m81.add(gdstk.Reference(m3_m2__201252908_128x8m8, (3.745,5.14)))
wen_wm1_128x8m81.add(gdstk.Reference(nmos_5p0431059054878_128, (1.765,6.02), x_reflection=True))
wen_wm1_128x8m81.add(gdstk.Reference(m2_m1__202395692_128x8m8, (10.9,1.835)))
wen_wm1_128x8m81.add(gdstk.Reference(m2_m1__202395692_128x8m8, (8.66,5.22)))
wen_wm1_128x8m81.add(gdstk.Reference(m2_m1__202395692_128x8m8, (8.66,1.835)))
wen_wm1_128x8m81.add(gdstk.Reference(m2_m1__202395692_128x8m8, (4.86,1.835)))
wen_wm1_128x8m81.add(gdstk.Reference(m2_m1__202395692_128x8m8, (4.86,5.22)))
wen_wm1_128x8m81.add(gdstk.Reference(m2_m1__202395692_128x8m8, (3.745,5.22)))
wen_wm1_128x8m81.add(gdstk.Reference(m2_m1__202406956_128x8m8, (1.505,5.14)))
wen_wm1_128x8m81.add(gdstk.Reference(nmos_5p0431059054878_128, (5.125,5.61), x_reflection=True))
wen_wm1_128x8m81.add(gdstk.Reference(nmos_5p0431059054878_128, (2.885,6.02), x_reflection=True))
wen_wm1_128x8m81.add(gdstk.Reference(m2_m1__202406956_128x8m8, (0,5.145)))
wen_wm1_128x8m81.add(gdstk.Reference(m2_m1__202406956_128x8m8, (1.505,1.775)))
wen_wm1_128x8m81.add(gdstk.Reference(m2_m1__202406956_128x8m8, (0,1.83)))
wen_wm1_128x8m81.add(gdstk.Reference(pmos_5p04310590548714_12, (2.885,2.87), x_reflection=True))
wen_wm1_128x8m81.add(gdstk.Reference(pmos_5p04310590548714_12, (5.125,2.87), x_reflection=True))
wen_wm1_128x8m81.add(gdstk.Reference(m2_m1__202406956_128x8m8, (7.33,1.83)))
wen_wm1_128x8m81.add(gdstk.Reference(m2_m1__202406956_128x8m8, (10.92,5.145)))
wen_wm1_128x8m81.add(gdstk.Reference(pmos_5p04310590548714_12, (1.765,2.87), x_reflection=True))
wen_wm1_128x8m81.add(gdstk.Reference(m2_m1__202406956_128x8m8, (7.33,5.145)))
wen_wm1_128x8m81.add(gdstk.Reference(m1_pactive4310590548728_, (7.32,5.12)))
wen_wm1_128x8m81.add(gdstk.Reference(pmos_5p04310590548735_12, (8.92,2.87), x_reflection=True))
wen_wm1_128x8m81.add(gdstk.Reference(m3_m2__201252908_128x8m8, (10.9,1.755)))
wen_wm1_128x8m81.add(gdstk.Reference(m3_m2__201252908_128x8m8, (8.66,5.14)))
wen_wm1_128x8m81.add(gdstk.Reference(m3_m2__201252908_128x8m8, (8.66,1.755)))
wen_wm1_128x8m81.add(gdstk.Reference(m3_m2__201252908_128x8m8, (4.86,1.755)))
wen_wm1_128x8m81.add(gdstk.Reference(m3_m2__201252908_128x8m8, (0,5.145)))
wen_wm1_128x8m81.add(gdstk.Reference(m3_m2__201252908_128x8m8, (1.505,1.775)))
wen_wm1_128x8m81.add(gdstk.Reference(m3_m2__201252908_128x8m8, (0,1.83)))
wen_wm1_128x8m81.add(gdstk.Reference(m3_m2__201252908_128x8m8, (7.33,5.145)))
wen_wm1_128x8m81.add(gdstk.Reference(m3_m2__201252908_128x8m8, (10.92,5.145)))
wen_wm1_128x8m81.add(gdstk.Reference(m1_pactive4310590548728_, (0.015,5.12)))
wen_wm1_128x8m81.add(gdstk.Reference(m3_m2__201252908_128x8m8, (7.33,1.83)))
wen_wm1_128x8m81.add(gdstk.Reference(m3_m2__201252908_128x8m8, (17.005,5.145)))
wen_wm1_128x8m81.add(gdstk.Reference(m2_m1__202406956_128x8m8, (18.555,1.83)))
wen_wm1_128x8m81.add(gdstk.Reference(m3_m2__201252908_128x8m8, (12.46,1.755)))
wen_wm1_128x8m81.add(gdstk.Reference(m2_m1__202406956_128x8m8, (17.005,1.83)))
wen_wm1_128x8m81.add(gdstk.Reference(nmos_5p04310590548742_12, (12.72,5.61), x_reflection=True))
wen_wm1_128x8m81.add(gdstk.Reference(m3_m2__201252908_128x8m8, (12.46,5.14)))
wen_wm1_128x8m81.add(gdstk.Reference(m2_m1__202395692_128x8m8, (14.7,5.22)))
wen_wm1_128x8m81.add(gdstk.Reference(m2_m1__202395692_128x8m8, (12.46,1.835)))
wen_wm1_128x8m81.add(gdstk.Reference(m2_m1__202395692_128x8m8, (12.46,5.22)))
wen_wm1_128x8m81.add(gdstk.Reference(m1_nactive4310590548738_, (18.535,1.955)))
wen_wm1_128x8m81.add(gdstk.Reference(m1_poly24310590548734_12, (12.48,3.74)))
wen_wm1_128x8m81.add(gdstk.Reference(m1_nactive__202392620_12, (17.005,1.83)))
wen_wm1_128x8m81.add(gdstk.Reference(m1_pactive4310590548728_, (17.005,5.12)))
wen_wm1_128x8m81.add(gdstk.Reference(m3_m2__201252908_128x8m8, (17.005,1.83)))
wen_wm1_128x8m81.add(gdstk.Reference(m2_m1__202395692_128x8m8, (14.7,1.835)))
wen_wm1_128x8m81.add(gdstk.Reference(m3_m2__201252908_128x8m8, (18.555,1.83)))
wen_wm1_128x8m81.add(gdstk.Reference(m3_m2__201252908_128x8m8, (14.7,1.755)))
wen_wm1_128x8m81.add(gdstk.Reference(m3_m2__201252908_128x8m8, (14.7,5.14)))
wen_wm1_128x8m81.add(gdstk.Reference(m2_m1__202406956_128x8m8, (17.005,5.145)))
wen_wm1_128x8m81.add(gdstk.Label('vss', (0.68,5.31), layer=42, texttype=10))
wen_wm1_128x8m81.add(gdstk.Label('GWEN', (3.245,6.83), layer=42, texttype=10))
wen_wm1_128x8m81.add(gdstk.Label('vss', (0.68,9.735), layer=42, texttype=10))
wen_wm1_128x8m81.add(gdstk.Label('vdd', (0.68,13.19), layer=42, texttype=10))
wen_wm1_128x8m81.add(gdstk.Label('VSS', (3.245,7.985), layer=42, texttype=10))
wen_wm1_128x8m81.add(gdstk.Label('vdd', (0.68,2.15), layer=42, texttype=10))
wen_wm1_128x8m81.add(gdstk.Label('men', (1.78,15.445), layer=34, texttype=10))
wen_wm1_128x8m81.add(gdstk.Label('wep', (15.825,4), layer=34, texttype=10))
wen_wm1_128x8m81.add(gdstk.Label('wen', (1.78,0.15), layer=34, texttype=10))

lib.write_gds('wen_wm1_128x8m81.gds')
